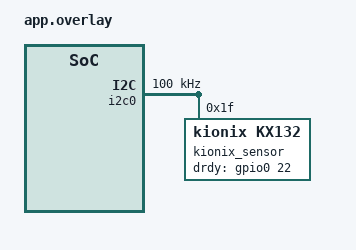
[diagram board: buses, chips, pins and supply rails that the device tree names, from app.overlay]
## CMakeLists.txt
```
#
#  Project:  Kionix driver demo
#
#  SPDX-License-Identifiers: Apache-2.0, MIT license
#

cmake_minimum_required(VERSION 3.20.0)
find_package(Zephyr REQUIRED HINTS $ENV{ZEPHYR_BASE})
project(kx132_demo)

target_sources(app PRIVATE
    src/main.c
)

## 2021-11-11
## https://stackoverflow.com/questions/31343813/displaying-cmake-variables

macro(print_all_variables)
    message(STATUS "print_all_variables------------------------------------------{")
    get_cmake_property(_variableNames VARIABLES)
    foreach (_variableName ${_variableNames})
        message(STATUS "${_variableName}=${${_variableName}}")
    endforeach()
    message(STATUS "print_all_variables------------------------------------------}")
endmacro()

#print_all_variables()
```

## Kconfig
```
# Kionix driver demo
# Neela Nurseries (c) 2021 - 2026

mainmenu "Kionix Zephyr Driver Demo"

source "Kconfig.zephyr"
```

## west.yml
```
manifest:
  remotes:
    - name: zephyrproject-rtos
      url-base: https://github.com/zephyrproject-rtos

  projects:
    - name: zephyr
      repo-path: zephyr
      remote: zephyrproject-rtos
      revision: v4.3.0
      import:
        # Through name allow list import only Zephyr modules we need:
        name-allowlist:
          - cmsis
          - cmsis_6
          - hal_st
          - hal_stm32
          - hal_nxp
          - hal_rpi_pico
          - picolibc
    # Kionix driver work repository, name of remote repository followed by name
    # of local dir into which to clone:
    - name: kionix-drivers
      path: kionix-drivers
      revision: main
      url: https://github.com/tedhavelka/kionix-drivers

  self:
    # This repository should be cloned to 
    path: out-of-tree-driver-demo
```

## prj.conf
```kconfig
##----------------------------------------------------------------------
## Copyright (c) <team name here>
##
## Note:  borrowing a number of Zephyr configuration stanzas from
##  Jared Wolff's "Air Quality Wing Demo" prj.conf file.  Details
##  of Jared's Zephyr work in this regard on Github at:
##
##  *  https://github.com/circuitdojo/air-quality-wing-zephyr-demo/blob/main/basic/prj.conf
##----------------------------------------------------------------------

# Heap and stacks
CONFIG_INIT_STACKS=y
CONFIG_MAIN_STACK_SIZE=2048

# Logging
CONFIG_LOG=y
CONFIG_LOG_MODE_IMMEDIATE=y
CONFIG_SERIAL=y
CONFIG_CONSOLE=y
CONFIG_UART_CONSOLE=y
CONFIG_LOG_BACKEND_UART=y

# run time diagnostics
CONFIG_CBPRINTF_FP_SUPPORT=y

## 2022-09-23 FRI - work to bring up Kionix Driver Demo built against Zephyr RTOS 3.1.0:
CONFIG_DYNAMIC_INTERRUPTS=y

## 2021-11-11 - Zephyr thread analyzer work:
CONFIG_THREAD_ANALYZER=y
CONFIG_THREAD_ANALYZER_USE_PRINTK=y
CONFIG_THREAD_ANALYZER_AUTO=n
CONFIG_THREAD_NAME=y
#CONFIG_THREAD_ANALYZER_AUTO_INTERVAL=5

# GPIO
CONFIG_GPIO=y

# Sensors
CONFIG_I2C=y
CONFIG_SENSOR=y
# CONFIG_KIONIX_KX132=y
# CONFIG_DEFINE_DEVICE_KX132_VIA_DEVICE_DT_INST_DEFINE=y
```

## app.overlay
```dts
/*
 * 2026 Q1 KX132 driver work
 */

&i2c0 {
	clock-frequency = <DT_FREQ_K(100)>;
	kionix_sensor: kx132_1211@1f {
		compatible = "kionix,kx132";
		reg = <0x1F>;
		drdy-gpios = <&gpio0 22 GPIO_ACTIVE_HIGH>;
	};
};
```

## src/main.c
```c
/*
 *  Project:  Kionix Driver Demo (Zephyr RTOS based app)
 *  Copyright (c) 2021 - 2026 Neela Nurseries
 *  SPDX-License-Identifier: Apache-2.0 and MIT licenses
 */

//----------------------------------------------------------------------
// - SECTION - includes
//----------------------------------------------------------------------

// newlib C includes:
#include <stdio.h>

// Zephyr RTOS includes:
#include <zephyr/kernel.h>
#include <zephyr/device.h>
#include <zephyr/devicetree.h>
#include <zephyr/drivers/gpio.h>
#include <zephyr/drivers/sensor.h>
#include <zephyr/drivers/uart.h>

#include <zephyr/logging/log.h>
LOG_MODULE_REGISTER(demo);

#include <kx132-1211.h>

#include "development-flags.h"

//----------------------------------------------------------------------
// - SECTION - symbol defines
//----------------------------------------------------------------------

#define KX132_NODE DT_NODELABEL(kionix_sensor)

#define SLEEP_TIME_MS 2000

//----------------------------------------------------------------------
// - SECTION - file scoped
//----------------------------------------------------------------------

// #define MY_KX132 DT_NODELABEL(kionix_sensor)

#if DT_NODE_HAS_STATUS(MY_KX132, okay)
// const struct device *const kx132_dev = DEVICE_DT_GET(MY_KX132);
#else
// #error "Node for KX132 is disabled"
#endif

union generic_data_four_bytes_union_t {
    char as_string[sizeof(int)];
    uint8_t as_bytes[sizeof(int)];
    uint32_t as_32_bit_integer;
};

//----------------------------------------------------------------------
// - SECTION - routines
//----------------------------------------------------------------------

int main(void)
{
	// sensor related variables
	const struct device *const dev_accel0 = DEVICE_DT_GET(DT_NODELABEL(kionix_sensor));
	struct sensor_value requested_config;
	 // struct sensor_value value;
	union generic_data_four_bytes_union_t data_from_sensor;

	// heartbeat and housekeeping
	int main_loop_count = 0;
	uint32_t rc = 0;

	if (dev_accel0 == NULL)
	{
        	LOG_ERR("DEVICE_DT_GET_ANY(kionix_kx132) expands to null");
		// Would return -ENODEV but Zephyr requires int main() to return zero.
		// So too for other error points which exit main().
		goto done;
	}
	else
	{
		if (!device_is_ready(dev_accel0))
		{
			LOG_ERR("Device '%s' is not ready\n", dev_accel0->name);
			goto done;
		}
	}

// - - - - - - - - - - - - - - - - - - - - - - - - - - - - - - - - - - -
// 2026-01-23
// When we need to change sensor attributes or refer to channels not in
// Zephyr's enumerations for these things, here is where we may implement
// extending APIs for our sensor.
//
// ~2021:
//
// In following sensor configuration tests first three parameters
//  1 device pointer, 2 sensor channel, 3 sensor attribute stay the same
//  to honor two sensor API enumerations in Zephyr v2.6.0.  These enums
//  do not in any obvious way support arbitrary sensor channels and
//  attributes.  Thus to stay with Zephyr's API way, and pass custom
//  settings to configuring routines of our out-of-tree driver those
//  values we pass in the final parameter.
//
//  Zephyr 2.6.0 project header of interest in this matter is:
//  zephyr/include/drivers/sensor.h.
// - - - - - - - - - - - - - - - - - - - - - - - - - - - - - - - - - - -

	if ( DEV_TEST__ENABLE_KX132_1211_ASYNCHRONOUS_READINGS == 1 )
	{
		requested_config.val1 = KX132_ENABLE_ASYNC_READINGS;

		rc = sensor_attr_set(
		  dev_accel0,
		  SENSOR_CHAN_ALL,
		  SENSOR_ATTR_PRIV_START,		  
		  &requested_config
		);
	}

	if ( DEV_TEST__SET_KX132_1211_OUTPUT_DATA_RATE == 1 )
	{
		requested_config.val1 = KX132_ENABLE_ASYNC_READINGS;
		requested_config.val2 = KX132_ODR_3200_HZ;

		rc = sensor_attr_set(
		  dev_accel0,
		  SENSOR_CHAN_ALL,
		  SENSOR_ATTR_PRIV_START,		  
		  &requested_config
		);
	}

	requested_config.val1 = SENSOR_ATTR_KIONIX__CONFIG_REG_BUF_CNTL1;
	requested_config.val2 = 0;
	rc = sensor_attr_get(dev_accel0,
		       	SENSOR_CHAN_ALL, // requesting no particular channel, only asking for config
		       	SENSOR_ATTR_CONFIGURATION,
		       	&requested_config
		);

	if (rc == 0) {
		LOG_INF("- DEV 0223 - register CNTL1 holds 0x%0X", requested_config.val2);
	} else {
		LOG_ERR("- DEV 0223 - Failed to read CNTL1 register, err %d", rc);
	}

	requested_config.val1 = SENSOR_ATTR_KIONIX__STATUS_REG_ODCNTL;
	requested_config.val2 = 0;
	rc = sensor_attr_get(dev_accel0,
		       	SENSOR_CHAN_ALL, // requesting no particular channel, only asking for config
		       	SENSOR_ATTR_CONFIGURATION,
		       	&requested_config
		);

	if (rc == 0) {
		LOG_INF("- DEV 0223 - register ODCNTL holds 0x%0X", requested_config.val2);
	} else {
		LOG_ERR("- DEV 0223 - Failed to read ODCNTL register, err %d", rc);
	}

	while (1)
	{
		if (DEV_TEST__FETCH_AND_GET_MANUFACTURER_ID)
		{
			requested_config.val1 = KX132_ATTR_MANUFACTURER_ID_STRING;
			requested_config.val2 = 0;
       			rc = sensor_attr_get(dev_accel0,
					SENSOR_CHAN_ALL,
					SENSOR_ATTR_CONFIGURATION,
					&requested_config
					);

			LOG_INF("KX132 manufacturer ID as 32-bit integer %d", requested_config.val2);
			data_from_sensor.as_32_bit_integer = requested_config.val2;

			if (rc != 0) {
				LOG_ERR("- DEV 0223 - failed to read man id string, err %d", rc);
				goto next_test;
			}

			LOG_INF("requested_config.val2 as bytes:  ");
			LOG_INF("  0x%2X 0x%2X 0x%2X 0x%2X",
				 data_from_sensor.as_bytes[0],
				 data_from_sensor.as_bytes[1],
				 data_from_sensor.as_bytes[2],
				 data_from_sensor.as_bytes[3]
			);
			LOG_INF("requested_config.val2 as characters:  '%c %c %c %c'",
				 data_from_sensor.as_bytes[0],
				 data_from_sensor.as_bytes[1],
				 data_from_sensor.as_bytes[2],
				 data_from_sensor.as_bytes[3]
			);
		}

next_test:
		if (DEV_TEST__FETCH_AND_GET_PART_ID)
		{
#if 0
			sensor_sample_fetch_chan(dev_accel0, SENSOR_CHAN_KIONIX_PART_ID);
			sensor_channel_get(dev_accel0, SENSOR_CHAN_KIONIX_PART_ID, &value);
#endif // 0
			requested_config.val1 = KX132_ATTR_PART_ID;
			requested_config.val2 = 0;
       			rc = sensor_attr_get(dev_accel0,
					SENSOR_CHAN_ALL,
					SENSOR_ATTR_CONFIGURATION,
					&requested_config
					);
			// LOG_INF("Kionix sensor reports part ID of %d", value.val1);
			LOG_INF("Kionix sensor reports part ID of %d", requested_config.val2);
		}

		if (DEV_TEST__FETCH_ACCELEROMETER_READINGS_XYZ)
		{
			rc = sensor_sample_fetch_chan(dev_accel0,
							SENSOR_CHAN_ACCEL_XYZ);
		}

		if ((main_loop_count % 10) == 0)
		{
			LOG_INF("- MARK - ");
		}

		k_msleep(SLEEP_TIME_MS);
		++main_loop_count;
	}

done:
	LOG_INF("Kionix driver demo done . . . exiting.");
	return 0;
}
```

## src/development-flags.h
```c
#ifndef _KD_DEVELOPMENT_FLAGS
#define _KD_DEVELOPMENT_FLAGS

// KX132-1211 Configuration:
#define DEV_TEST__ENABLE_KX132_1211_ASYNCHRONOUS_READINGS (1)
#define DEV_TEST__SET_KX132_1211_OUTPUT_DATA_RATE         (0)

// KX132-1211 Readings:
#define DEV_TEST__FETCH_AND_GET_MANUFACTURER_ID           (1)
#define DEV_TEST__FETCH_AND_GET_PART_ID                   (1)
#define DEV_TEST__FETCH_ACCELEROMETER_READINGS_XYZ        (1)

// 2021-11-19 -
#define KD_DEV__CONFIG_REGISTERS_SUMMARY_ENABLED          (1)
#define KD_DEV__I2C_WRITE_STATUS                          (1)

#define DEFINE_FOR_USE__ACCELERATOR_START_ACQUISITION_NO_FIFO (0)
#define DEFINE_FOR_USE__READ_OF_IIS2DH_ACC_STATUS_REGISTER    (1)

#endif // _KD_DEVELOPMENT_FLAGS
```
